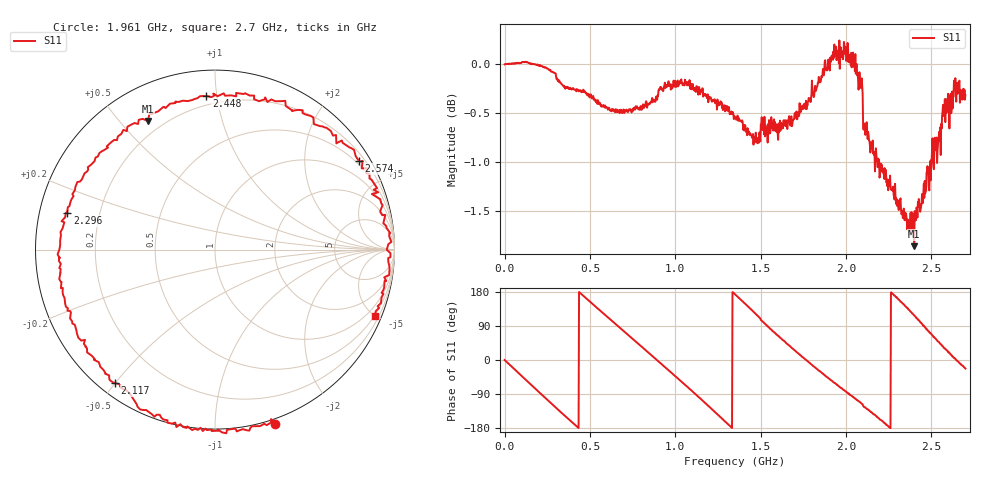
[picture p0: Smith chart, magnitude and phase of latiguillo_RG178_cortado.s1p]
! latiguillo_RG178_cortado (extremo al aire)
! 2026-10-30T16:20:14
# HZ S RI R 50
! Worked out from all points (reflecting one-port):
!   1010 points, 50 kHz to 2.7 GHz, reference 50 ohm
!   lowest |S11| = -1.9 dB at 2.4 GHz (marker M1), VSWR 9.41, Z = 7.24 + j29.8 ohm
!   phase of S11 starts at 0 deg and turns -1103 deg over the sweep
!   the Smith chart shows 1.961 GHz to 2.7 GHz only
!   S11 on the Smith chart (normalised r, x): 1.961 GHz: -0.04, -1.40; 2.117 GHz: 0.05, -0.50; 2.296 GHz: 0.08, +0.12; 2.448 GHz: 0.14, +0.94; 2.574 GHz: 0.40, +3.49; 2.7 GHz: 0.47, -4.97
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50000  0.9996 6.63e-05
8.300188e7  0.8213 -0.5729
1.82009e8  0.2324 -0.972
2.569333e8  -0.3037 -0.9465
3.398851e8  -0.7692 -0.5998
4.897337e8  -0.8939 0.3602
5.887408e8  -0.4626 0.8328
6.770444e8  0.0927 0.9427
7.626722e8  0.5979 0.7356
8.590034e8  0.9317 0.2171
1.014204e9  0.6551 -0.73
1.166728e9  -0.3265 -0.9086
1.263059e9  -0.8289 -0.4727
1.351363e9  -0.9321 0.1168
1.431639e9  -0.6953 0.6086
1.514591e9  -0.1704 0.9125
1.592191e9  0.3564 0.861
1.688522e9  0.814 0.461
1.814288e9  0.9193 -0.2901
1.961461e9  0.3363 -0.9714
2.025681e9  -0.0452 -1.006
2.116661e9  -0.5561 -0.7432
2.295944e9  -0.8234 0.2049
2.362841e9  -0.6034 0.575
2.400303e9  -0.3737 0.7162
2.448468e9  -0.0478 0.8566
2.574234e9  0.8013 0.4939
2.7e9  0.8903 -0.3703
